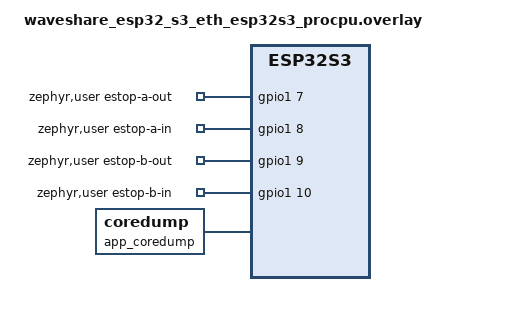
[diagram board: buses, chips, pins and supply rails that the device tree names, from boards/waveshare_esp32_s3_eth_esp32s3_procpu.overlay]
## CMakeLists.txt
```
cmake_minimum_required(VERSION 3.20.0)

find_package(Zephyr REQUIRED HINTS $ENV{ZEPHYR_BASE})

project(protective_stop)

# Shared application code (see applications/common/).
include(${CMAKE_CURRENT_LIST_DIR}/../common/build_id/build_id.cmake)

zephyr_compile_options(-fdiagnostics-color=always)

target_sources(app PRIVATE
  src/main.c
  src/estop_verdict.c
  src/estop_gpio.c
  src/app_settings.c
  src/session.c
  src/lockstep.c
  src/health_logic.c
  src/health.c
  src/ring.c
  src/leds.c
  src/uplink.c
  src/wifi.c
  src/crash.c
  src/log_ring.c
  src/last_log.c
  src/verbose.c
)

if(CONFIG_PROTECTIVE_STOP_HTTP)
  include(${CMAKE_CURRENT_LIST_DIR}/../common/http_util/http_util.cmake)
  target_sources(app PRIVATE
    src/api.c
    src/http_server.c
  )
  # The admin page ships gzipped; the browser inflates it.
  set(gen_dir ${ZEPHYR_BINARY_DIR}/include/generated)
  generate_inc_file_for_target(app src/admin.html ${gen_dir}/admin.html.gz.inc --gzip)
  zephyr_linker_sources(SECTIONS sections-rom.ld)
  zephyr_linker_section(NAME http_resource_desc_pstop_http
    KVMA RAM_REGION GROUP RODATA_REGION
  )
endif()

target_sources_ifdef(CONFIG_PROTECTIVE_STOP_ESPHOME app PRIVATE src/ha.c)

target_include_directories(app PRIVATE src)
```

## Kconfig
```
# SPDX-License-Identifier: Apache-2.0

mainmenu "protective_stop"

config ZVFS_OPEN_ADD_SIZE_PROTECTIVE_STOP
	int
	default 7 if PROTECTIVE_STOP_HTTP
	default 4
	help
	  File descriptors this app holds open: one UDP socket per machine
	  slot (PSTOP_MAX_MACHINES, 4), plus the control plane's listening
	  socket and one per HTTP_SERVER_MAX_CLIENTS (2). Counted here because
	  native_sim's offloaded sockets reserve none of their own.

menu "protective_stop"

config ZVFS_OPEN_ADD_SIZE_PROTECTIVE_STOP
	int
	default 7 if PROTECTIVE_STOP_HTTP
	default 4
	help
	  File descriptors this app holds open: one UDP socket per machine
	  slot (PSTOP_MAX_MACHINES, 4), plus the control plane's listening
	  socket and one per HTTP_SERVER_MAX_CLIENTS (2). Counted here because
	  native_sim's offloaded sockets reserve none of their own.

config PROTECTIVE_STOP_LOCAL_PORT
	int "First local UDP port for machine sessions"
	default 18891 if BOARD_NATIVE_SIM
	default 8891
	help
	  Slot i sends from this port + i. Upstream uses 8891..8894. native_sim
	  shares the host's ports, and upstream's multi-machine test runs its
	  machines on 8890..8893 of that same host, so the simulator moves
	  out of their way.

config PROTECTIVE_STOP_HTTP
	bool "Control plane (HTTP)"
	default y
	select HTTP_SERVER
	select HTTP_SERVER_CAPTURE_HEADERS
	select BASE64
	select REBOOT
	help
	  /state.json and upstream's /api routes, so upstream's tooling can
	  provision and observe this remote.

if PROTECTIVE_STOP_HTTP

config PROTECTIVE_STOP_HTTP_PORT
	int "Control plane TCP port"
	default 8080 if BOARD_NATIVE_SIM
	default 80
	help
	  native_sim binds the host's own port, and 80 needs root there.

config PROTECTIVE_STOP_ADMIN_PASSWORD
	string "Admin password for /admin/* and /api/role"
	default ""
	help
	  The user is "admin". Empty (the default) leaves the admin routes
	  disabled: they answer 403 to every request, so a remote that was
	  never given a password cannot be re-roled or restarted over the
	  network. Set it in a local, uncommitted conf fragment, e.g.
	  --extra-conf admin.conf.

config PROTECTIVE_STOP_VERBOSE
	bool "Runtime verbose logging"
	default y
	select LOG_RUNTIME_FILTERING
	help
	  Compile this app's debug log lines in, filtered out at runtime
	  until POST /admin/api/verbose/toggle lets them through: a line per
	  machine reply, per HTTP request and per WiFi decision.

endif # PROTECTIVE_STOP_HTTP

config PROTECTIVE_STOP_ESPHOME
	bool "Home Assistant (ESPHome native API)"
	default y
	select ESPHOME_API
	select ESPHOME_API_NOISE
	help
	  Show the remote in Home Assistant as an ESPHome device: stop state,
	  bonded machines, lockstep faults and health, read-only. Noise
	  encrypted; POST /admin/api/esphome_key sets the key. Until a key is
	  set every client is refused.

config ZVFS_OPEN_ADD_SIZE_PROTECTIVE_STOP_ESPHOME
	int
	default 3 if PROTECTIVE_STOP_ESPHOME
	default 0
	help
	  The API's listening socket and its two client slots.

menu "Health counters"

config PROTECTIVE_STOP_BUTTON_RATED_OPS
	int "Stop switch rated operations"
	default 100000
	range 0 1000000000
	help
	  Datasheet mechanical life of the stop switch (upstream's NKK FF01:
	  100,000 operations minimum). /api/health reports wear as a
	  percentage of this. 0 disables the wear warning.

config PROTECTIVE_STOP_BUTTON_WARN_PCT
	int "Button wear warning threshold (percent of rated operations)"
	default 80
	range 0 99

config PROTECTIVE_STOP_MISMATCH_WARN_MIN
	int "Loop-mismatch warning: minimum lifetime events"
	default 50
	range 1 1000000

config PROTECTIVE_STOP_MISMATCH_WARN_PER_1000
	int "Loop-mismatch warning: events per 1000 presses"
	default 20
	range 0 1000

config PROTECTIVE_STOP_HEALTH_FLUSH_MIN_S
	int "Minimum seconds between counter flushes"
	default 60
	range 5 3600
	help
	  Bounds flash wear: changed counters wait at least this long.

config PROTECTIVE_STOP_HEALTH_FLUSH_MAX_S
	int "Maximum seconds between counter flushes"
	default 600
	range 30 86400
	help
	  Cumulative uptime is flushed at least this often, so a power pull
	  loses at most this much of it.

endmenu

endmenu

rsource "../common/build_id/Kconfig"

source "Kconfig.zephyr"
```

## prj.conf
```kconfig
CONFIG_LOG=y
CONFIG_LOG_MODE_DEFERRED=y

# pstop_c protocol library, vendored as a Zephyr module (deps/modules/lib/protective-stop)
CONFIG_PSTOP=y

CONFIG_NETWORKING=y
CONFIG_NET_IPV4=y
CONFIG_NET_IPV6=n
CONFIG_NET_UDP=y
CONFIG_NET_SOCKETS=y

# Home Assistant over the ESPHome native API (PROTECTIVE_STOP_ESPHOME). The
# hostname, made unique from the MAC, is the name Home Assistant shows.
CONFIG_NET_HOSTNAME_ENABLE=y
CONFIG_NET_HOSTNAME="pstop"
CONFIG_NET_HOSTNAME_UNIQUE=y
CONFIG_MDNS_RESPONDER=y
CONFIG_DNS_SD=y
CONFIG_NET_IPV4_IGMP=y
CONFIG_ESPHOME_API_FRIENDLY_NAME="Protective stop"

# Control plane: /state.json, /api/*, /admin/api/*
CONFIG_HTTP_SERVER_STACK_SIZE=4096
CONFIG_HTTP_SERVER_MAX_CLIENTS=2
CONFIG_HTTP_SERVER_VERSION_2=n

CONFIG_GPIO=y

CONFIG_MAIN_STACK_SIZE=4096

CONFIG_FLASH=y
CONFIG_FLASH_MAP=y
CONFIG_ZMS=y
CONFIG_SETTINGS=y
CONFIG_SETTINGS_ZMS=y

# POST bodies of /admin/api/wifi and /admin/api/settings
CONFIG_JSON_LIBRARY=y

# Device id from the factory MAC
CONFIG_HWINFO=y
```

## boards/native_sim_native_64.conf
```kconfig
# Host-backed BSD sockets: zsock_* calls go straight to the host's syscalls,
# so this build talks to upstream's real machine_app over ordinary loopback
# with no TAP interface, no net-tools setup and no root.
CONFIG_NET_SOCKETS_OFFLOAD=y
CONFIG_NET_NATIVE_OFFLOADED_SOCKETS=y
CONFIG_NET_DRIVERS=y

# No L2 and no native IP stack -- offloaded sockets bypass both. IPv4 itself
# stays on: the HTTP server picks its listening address family from it.
CONFIG_NET_L2_ETHERNET=n
CONFIG_NET_NATIVE=n

CONFIG_GPIO_EMUL=y

# ZMS needs a flash backend; flash_simulator's native backend persists to a
# host file, so settings survive a restart of the simulation.
CONFIG_FLASH_SIMULATOR=y
CONFIG_FLASH_SIMULATOR_DOUBLE_WRITES=y

# POST /admin/api/restart re-executes the simulator in place.
CONFIG_NATIVE_SIM_REBOOT=y

# Offloaded sockets have no multicast, so no mDNS responder; Home Assistant
# reaches the simulator by 127.0.0.1:6053.
CONFIG_MDNS_RESPONDER=n
CONFIG_NET_IPV4_IGMP=n
```

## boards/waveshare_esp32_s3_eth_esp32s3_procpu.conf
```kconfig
# Uplinks: the onboard W5500 (SPI2) and the ESP32-S3's WiFi station, both on
# DHCP. uplink.c prefers Ethernet; wifi.c leaves WiFi while it holds a lease.
CONFIG_NET_L2_ETHERNET=y
CONFIG_ETH_DRIVER=y
CONFIG_NET_DHCPV4=y
CONFIG_NET_IF_MAX_IPV4_COUNT=2
CONFIG_NET_MGMT=y
CONFIG_NET_MGMT_EVENT=y
CONFIG_WIFI=y
CONFIG_NET_L2_WIFI_MGMT=y

# Two interfaces, the HTTP server and four machine sockets.
CONFIG_NET_PKT_RX_COUNT=16
CONFIG_NET_PKT_TX_COUNT=16
CONFIG_NET_BUF_RX_COUNT=32
CONFIG_NET_BUF_TX_COUNT=32
CONFIG_SYSTEM_WORKQUEUE_STACK_SIZE=2048

# The 16-LED ring and the onboard status pixel (WS2812 over RMT).
CONFIG_LED_STRIP=y

# A fatal error leaves a coredump in the coredump flash partition for
# GET /api/coredump. The partition is 4 KiB, so only the faulting thread's
# registers and stack are kept.
CONFIG_DEBUG_COREDUMP=y
CONFIG_DEBUG_COREDUMP_BACKEND_FLASH_PARTITION=y
CONFIG_DEBUG_COREDUMP_MEMORY_DUMP_MIN=y
```

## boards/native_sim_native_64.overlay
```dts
/*
 * Copyright (c) 2026 Richard Osterloh <richard.osterloh@gmail.com>
 * SPDX-License-Identifier: Apache-2.0
 *
 * Dual-channel stop-switch loopback, modelled on gpio_emul.
 *
 * On hardware each channel runs out of a drive pin, through one pole of the
 * external DPST normally-closed switch, and back into a sense pin pulled DOWN
 * (so an open loop or a cut wire reads 0 = STOP). native_sim has no wire, so
 * estop_gpio.c mirrors OUT onto IN through a simulated pole; see
 * estop_sim_set_pole().
 *
 * Pin numbers mirror the hardware build (39/40, 41/42) purely so the two
 * overlays read alike; on gpio_emul any pin below ngpios would do.
 */

/ {
	zephyr,user {
		estop-a-out-gpios = <&gpio0 0 GPIO_ACTIVE_HIGH>;
		estop-a-in-gpios  = <&gpio0 1 GPIO_ACTIVE_HIGH>;
		estop-b-out-gpios = <&gpio0 2 GPIO_ACTIVE_HIGH>;
		estop-b-in-gpios  = <&gpio0 3 GPIO_ACTIVE_HIGH>;
	};
};
```

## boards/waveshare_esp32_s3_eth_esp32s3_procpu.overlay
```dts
/*
 * Copyright (c) 2026 Richard Osterloh <richard.osterloh@gmail.com>
 * SPDX-License-Identifier: Apache-2.0
 *
 * Dual-channel stop-switch loopback, as wired in the pstop enclosure.
 *
 * Each channel runs out of a drive pin, through one pole of the external DPST
 * normally-closed switch, and back into a sense pin pulled DOWN -- so an open
 * loop, a cut wire or a pulled plug all read 0 = STOP. The two channels are
 * independent so that a single-pole fault makes the two lockstep samplers
 * disagree, which silences transmission and stops every bonded machine.
 *
 *     channel A:  GPIO39 (drive) --> DPST pole 1 --> GPIO40 (sense)
 *     channel B:  GPIO41 (drive) --> DPST pole 2 --> GPIO42 (sense)
 *
 * These are enclosure wiring, not board hardware, which is why they live in
 * an app overlay rather than in the board definition. Pin numbering matches
 * upstream's ESP-IDF firmware (firmware/main/main.c) so the same harness fits
 * either build.
 *
 * GPIO39-42 sit on gpio1, which covers pins 32-48 on the ESP32-S3, hence the
 * offsets 7-10 below.
 *
 * The 16-LED WS2812 status ring is enclosure wiring too: its data line is
 * GPIO17, driven from RMT transmit channel 1 (channel 0 drives the onboard
 * status pixel on GPIO21, which being soldered to the board lives in the
 * board definition as led-strip). leds.c finds the ring as pstop-ring.
 */

#include <zephyr/dt-bindings/gpio/gpio.h>
#include <zephyr/dt-bindings/led/led.h>
#include <zephyr/dt-bindings/pinctrl/esp32s3-pinctrl.h>

/ {
	zephyr,user {
		estop-a-out-gpios = <&gpio1 7 GPIO_ACTIVE_HIGH>;  /* GPIO39 */
		estop-a-in-gpios = <&gpio1 8 GPIO_ACTIVE_HIGH>;  /* GPIO40 */
		estop-b-out-gpios = <&gpio1 9 GPIO_ACTIVE_HIGH>;  /* GPIO41 */
		estop-b-in-gpios = <&gpio1 10 GPIO_ACTIVE_HIGH>; /* GPIO42 */
	};

	aliases {
		pstop-ring = &pstop_ring;
	};

	pstop_ring: pstop_ring {
		compatible = "worldsemi,ws2812-pulse-io";
		pulse-ios = <&rmt 1>;
		chain-length = <16>;
		color-mapping = <LED_COLOR_ID_GREEN
				 LED_COLOR_ID_RED
				 LED_COLOR_ID_BLUE>;
		reset-delay = <300>;
	};
};

/* Both RMT transmit pins in one state: the controller applies one pinctrl
 * state for all its channels.
 */
&rmt_ws2812 {
	group1 {
		pinmux = <RMT_OUT0_GPIO21>, <RMT_OUT1_GPIO17>;
	};
};

/* Coredump pseudo-device: applications/common/build_id registers the build-ID
 * note with it at boot, so every dump names its ELF.
 */
/ {
	app_coredump: app-coredump {
		compatible = "zephyr,coredump";
		coredump-type = "COREDUMP_TYPE_MEMCPY";
	};
};
```

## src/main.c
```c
/*
 * Copyright (c) 2026 Richard Osterloh <richard.osterloh@gmail.com>
 * SPDX-License-Identifier: Apache-2.0
 *
 * protective_stop: a Zephyr pstop REMOTE.
 *
 * Init order matters. Settings first (the peer table decides which sessions
 * exist), then the health counters (they hook the comparator before it
 * starts), the stop-switch GPIOs (so the first sampler tick reads real pins),
 * then the sessions, and only then the threads. The uplinks, LEDs and
 * control plane come last: the remote stops machines without any of them.
 */

#include <zephyr/kernel.h>
#include <zephyr/logging/log.h>

#include "app_settings.h"
#include "estop_gpio.h"
#include "health.h"
#include "http_server.h"
#include "leds.h"
#include "lockstep.h"
#include "pstop/config.h"
#include "pstop_log.h"
#include "uplink.h"
#include "verbose.h"
#include "wifi.h"

LOG_MODULE_REGISTER(pstop, PSTOP_LOG_LEVEL);

/* Fallback peer, applied only when nothing has been provisioned yet. Matches
 * upstream's machine_app defaults so a fresh native_sim build talks to it
 * without any configuration. POST /api/pstop_peers overrides it.
 */
#define DEFAULT_MACHINE_IP   0x7F000001U /* 127.0.0.1 */
#define DEFAULT_MACHINE_PORT 8890U
#define DEFAULT_MACHINE_ID   0x01020304U

/* Lockstep health counters are otherwise silent between /state.json polls.
 * Logging on change here is enough to see a stuck-gate or a mismatch spike
 * without polling. The same period paces the wear counters' flushes.
 */
#define COUNTER_LOG_PERIOD_MS 5000U

int main(void)
{
	int ret;

	pstop_verbose_init();

	LOG_INF("protective_stop remote: pstop v%u, %u-byte frames", (unsigned int)PSTOP_VERSION,
		(unsigned int)PSTOP_MESSAGE_SIZE);

	ret = app_settings_init();
	if (ret != 0) {
		LOG_ERR("settings init failed: %d", ret);
		return ret;
	}

	struct pstop_peer peer0;

	(void)app_settings_peer_get(0, &peer0);
	if (!peer0.configured) {
		LOG_WRN("no peer provisioned; using the built-in default");
		(void)app_settings_set_peer(0, DEFAULT_MACHINE_IP, DEFAULT_MACHINE_PORT,
					    DEFAULT_MACHINE_ID);
	}

	LOG_INF("device id %08x (%s)", app_settings_effective_device_id(),
		(app_settings_device_id() != 0U) ? "pinned" : "from the MAC");

	/* Wear counting is not a safety function: a failed load starts from
	 * zero and the remote runs on.
	 */
	(void)health_init();

	ret = estop_gpio_init();
	if (ret != 0) {
		LOG_ERR("stop-switch gpio init failed: %d", ret);
		return ret;
	}

	ret = pstop_lockstep_init();
	if (ret != 0) {
		LOG_ERR("lockstep init failed: %d", ret);
		return ret;
	}

	ret = pstop_lockstep_start();
	if (ret != 0) {
		return ret;
	}

	/* None of these gate the stop path: a remote with no uplink or no
	 * LEDs still drives its sessions, which simply never bond.
	 */
	if (uplink_init() != 0) {
		LOG_WRN("no network interfaces");
	}
	if (pstop_wifi_start() == 0) {
		LOG_INF("wifi station started");
	}
	if (leds_start() != 0) {
		LOG_WRN("LEDs unavailable");
	}

	if (IS_ENABLED(CONFIG_PROTECTIVE_STOP_HTTP)) {
		/* A control plane that fails to start leaves the remote stopping
		 * machines as before, just unprovisionable: keep running.
		 */
		(void)pstop_http_start();
	}

	uint32_t last_mismatches = 0;
	uint32_t last_gated_ticks = 0;
	uint32_t last_missed_deadlines = 0;

	while (true) {
		k_sleep(K_MSEC(COUNTER_LOG_PERIOD_MS));
		health_poll();

		uint32_t mismatches = pstop_lockstep_mismatches();
		uint32_t gated_ticks = pstop_lockstep_gated_ticks();
		uint32_t missed_deadlines = pstop_lockstep_missed_deadlines();

		if ((mismatches != last_mismatches) || (gated_ticks != last_gated_ticks) ||
		    (missed_deadlines != last_missed_deadlines)) {
			struct pstop_lockstep_diag diag;

			pstop_lockstep_diag_get(&diag);
			LOG_INF("lockstep health: mismatches=%u gated_ticks=%u missed_deadlines=%u "
				"last_late=%#x worst_latency=%u/%u ms",
				mismatches, gated_ticks, missed_deadlines, diag.late_mask,
				diag.latency_max_ms[0], diag.latency_max_ms[1]);
			last_mismatches = mismatches;
			last_gated_ticks = gated_ticks;
			last_missed_deadlines = missed_deadlines;
		}
	}
}
```

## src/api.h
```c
/*
 * Copyright (c) 2026 Richard Osterloh <richard.osterloh@gmail.com>
 * SPDX-License-Identifier: Apache-2.0
 *
 * The control plane's request handling, route by route, kept apart from the
 * HTTP server so ztest can drive every route without a socket. Each handler
 * takes the request URL (path plus query) and, where the route needs it, the
 * Authorization header; writes a JSON body into buf; and returns the HTTP
 * status. Routes, query parameters and response bodies follow upstream's
 * docs/guides/http_api.md, so upstream's tooling drives this remote
 * unmodified. Fields this remote has no source for are left out of
 * /state.json rather than reported as zero.
 */

#ifndef PROTECTIVE_STOP_API_H
#define PROTECTIVE_STOP_API_H

#include <stdbool.h>
#include <stddef.h>

/* The admin user, as upstream's Basic auth expects it. The password is
 * CONFIG_PROTECTIVE_STOP_ADMIN_PASSWORD.
 */
#define PSTOP_API_ADMIN_USER "admin"

/* Big enough for /state.json with all four slots configured. */
#define PSTOP_API_BODY_MAX 2048

struct pstop_api_response {
	int status;          /* HTTP status code */
	size_t len;          /* bytes written to the body buffer */
	bool auth_challenge; /* a 401: send WWW-Authenticate */
	bool restart;        /* reboot once this response is on the wire */
};

/* GET /state.json -- telemetry snapshot. */
void pstop_api_state(char *buf, size_t cap, struct pstop_api_response *rsp);

/* POST /api/pstop_peer?ip=A.B.C.D&port=N | ?clear=1 -- legacy slot 0. */
void pstop_api_pstop_peer(const char *url, char *buf, size_t cap, struct pstop_api_response *rsp);

/* POST /api/pstop_peers?slot=N&ip=A.B.C.D&port=P[&id=HEX] | &clear=1 |
 * &rebond=1 -- the multi-machine peer table. Changes apply within one tick.
 */
void pstop_api_pstop_peers(const char *url, char *buf, size_t cap, struct pstop_api_response *rsp);

/* GET /api/role, POST /api/role?role=stop_only|operator -- admin. */
void pstop_api_role(bool post, const char *url, const char *auth, char *buf, size_t cap,
		    struct pstop_api_response *rsp);

/* GET /admin/api/status -- admin. */
void pstop_api_admin_status(const char *auth, char *buf, size_t cap,
			    struct pstop_api_response *rsp);

/* POST /admin/api/restart -- admin. Sets rsp->restart; the caller reboots. */
void pstop_api_admin_restart(const char *auth, char *buf, size_t cap,
			     struct pstop_api_response *rsp);

/* POST /api/ring_offset?n=N -- which physical pixel is LED 1 (0..15). */
void pstop_api_ring_offset(const char *url, char *buf, size_t cap, struct pstop_api_response *rsp);

/* POST /api/ring_led1?on=0|1 -- locate mode, auto-expiring after 5 min. */
void pstop_api_ring_led1(const char *url, char *buf, size_t cap, struct pstop_api_response *rsp);

/* GET /api/health -- lifetime wear counters and the warning board. */
void pstop_api_health(char *buf, size_t cap, struct pstop_api_response *rsp);

/* POST /api/health/reset?what=button|all&confirm=1 -- admin. */
void pstop_api_health_reset(const char *url, const char *auth, char *buf, size_t cap,
			    struct pstop_api_response *rsp);

/* GET /api/coredump -- admin. On 200, *size is the dump's length and the
 * caller streams it with crash_read(); otherwise buf holds the error body.
 */
void pstop_api_coredump(const char *auth, char *buf, size_t cap, struct pstop_api_response *rsp,
			size_t *size);

/* GET /admin/ -- admin. Only the gate: on 200 the caller serves the page. */
void pstop_api_admin_page(const char *auth, char *buf, size_t cap, struct pstop_api_response *rsp);

/* GET|POST /admin/api/settings -- admin. POST takes a JSON body with any of
 * "ring_offset" (0..15) and "device_id" (0 = derive from the MAC). body is
 * parsed in place.
 */
void pstop_api_admin_settings(bool post, char *body, size_t body_len, const char *auth, char *buf,
			      size_t cap, struct pstop_api_response *rsp);

/* GET|POST /admin/api/wifi -- admin. GET lists the stored networks with
 * passwords masked; POST replaces the list from {"networks":[{"ssid","pass"}]}
 * where a pass of "********" keeps that network's stored password. body is
 * parsed in place.
 */
void pstop_api_admin_wifi(bool post, char *body, size_t body_len, const char *auth, char *buf,
			  size_t cap, struct pstop_api_response *rsp);

/* GET /admin/api/verbose, POST /admin/api/verbose/toggle -- admin. */
void pstop_api_admin_verbose(bool toggle, const char *auth, char *buf, size_t cap,
			     struct pstop_api_response *rsp);

/* POST /admin/api/esphome_key -- admin. Sets the Home Assistant (ESPHome API)
 * encryption key from {"key":"<base64 of 32 bytes>"}, as Home Assistant asks
 * for it, and saves it. The key is never read back. body is parsed in place.
 */
void pstop_api_admin_esphome_key(char *body, size_t body_len, const char *auth, char *buf,
				 size_t cap, struct pstop_api_response *rsp);

#endif /* PROTECTIVE_STOP_API_H */
```

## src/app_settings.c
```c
/*
 * Copyright (c) 2026 Richard Osterloh <richard.osterloh@gmail.com>
 * SPDX-License-Identifier: Apache-2.0
 */

#include <stdio.h>  /* snprintf */
#include <stdlib.h> /* atoi */
#include <string.h>

#include <zephyr/drivers/hwinfo.h>
#include <zephyr/kernel.h>
#include <zephyr/logging/log.h>
#include <zephyr/settings/settings.h>

#include "app_settings.h"
#include "pstop_log.h"

LOG_MODULE_REGISTER(app_settings, PSTOP_LOG_LEVEL);

#define PSTOP_SETTINGS_ROOT "pstop"

/* Upstream's family byte for remote ids derived from the MAC. */
#define DERIVED_ID_PREFIX 0x01000000U
#define FALLBACK_ID       0xC0A80105U /* 192.168.1.5, slice 1-3's fixed id */

/* Guards peers[]: the HTTP thread writes slots while the comparator reads
 * them. device_id and is_operator are single words, read whole.
 */
static K_MUTEX_DEFINE(peers_lock);
static struct pstop_peer peers[PSTOP_MAX_MACHINES];
static uint32_t device_id;
static uint32_t derived_id;
static bool is_operator;
static uint8_t ring_offset;

static K_MUTEX_DEFINE(wifi_lock);
static struct pstop_wifi_net wifi[PSTOP_WIFI_MAX];

static int pstop_settings_set(const char *name, size_t len, settings_read_cb read_cb, void *cb_arg)
{
	const char *next;

	if (settings_name_steq(name, "device_id", &next) && !next) {
		if (len != sizeof(device_id)) {
			return -EINVAL;
		}
		return (read_cb(cb_arg, &device_id, sizeof(device_id)) < 0) ? -EIO : 0;
	}

	if (settings_name_steq(name, "operator", &next) && !next) {
		if (len != sizeof(is_operator)) {
			return -EINVAL;
		}
		return (read_cb(cb_arg, &is_operator, sizeof(is_operator)) < 0) ? -EIO : 0;
	}

	if (settings_name_steq(name, "ring_off", &next) && !next) {
		if (len != sizeof(ring_offset)) {
			return -EINVAL;
		}
		return (read_cb(cb_arg, &ring_offset, sizeof(ring_offset)) < 0) ? -EIO : 0;
	}

	if (settings_name_steq(name, "wifi", &next) && next) {
		int idx = atoi(next);

		if ((idx < 0) || (idx >= PSTOP_WIFI_MAX) || (len != sizeof(wifi[idx]))) {
			return -EINVAL;
		}
		if (read_cb(cb_arg, &wifi[idx], sizeof(wifi[idx])) < 0) {
			return -EIO;
		}
		wifi[idx].ssid[PSTOP_WIFI_SSID_MAX] = '\0';
		wifi[idx].pass[PSTOP_WIFI_PASS_MAX] = '\0';
		return 0;
	}

	if (settings_name_steq(name, "peers", &next) && next) {
		/* next is "<slot>" */
		int slot = atoi(next);

		if ((slot < 0) || (slot >= PSTOP_MAX_MACHINES)) {
			return -EINVAL;
		}
		if (len != sizeof(peers[slot])) {
			return -EINVAL;
		}
		return (read_cb(cb_arg, &peers[slot], sizeof(peers[slot])) < 0) ? -EIO : 0;
	}

	return -ENOENT;
}

SETTINGS_STATIC_HANDLER_DEFINE(pstop, PSTOP_SETTINGS_ROOT, NULL, pstop_settings_set, NULL, NULL);

static uint32_t derive_device_id(void)
{
#ifdef CONFIG_HWINFO
	uint8_t mac[6];
	ssize_t n = hwinfo_get_device_id(mac, sizeof(mac));

	if (n >= 3) {
		return DERIVED_ID_PREFIX | ((uint32_t)mac[n - 3] << 16) |
		       ((uint32_t)mac[n - 2] << 8) | (uint32_t)mac[n - 1];
	}
#endif
	return FALLBACK_ID;
}

int app_settings_init(void)
{
	int ret;

	(void)memset(peers, 0, sizeof(peers));
	(void)memset(wifi, 0, sizeof(wifi));
	device_id = 0U;
	is_operator = false;
	ring_offset = 0U;
	derived_id = derive_device_id();

	ret = settings_subsys_init();
	if (ret != 0) {
		LOG_ERR("settings_subsys_init: %d", ret);
		return ret;
	}

	ret = settings_load_subtree(PSTOP_SETTINGS_ROOT);
	if (ret != 0) {
		LOG_ERR("settings_load_subtree: %d", ret);
		return ret;
	}

	if (ring_offset >= 16U) {
		ring_offset = 0U;
	}

	LOG_INF("settings loaded: device_id=%08x (%s) role=%s", app_settings_effective_device_id(),
		(device_id != 0U) ? "pinned" : "derived", is_operator ? "operator" : "stop_only");
	return 0;
}

int app_settings_peer_get(int slot, struct pstop_peer *out)
{
	if ((slot < 0) || (slot >= PSTOP_MAX_MACHINES) || (out == NULL)) {
		return -EINVAL;
	}

	(void)k_mutex_lock(&peers_lock, K_FOREVER);
	*out = peers[slot];
	(void)k_mutex_unlock(&peers_lock);
	return 0;
}

static int save_peer(int slot, const struct pstop_peer *peer)
{
	char key[32];

	(void)snprintf(key, sizeof(key), PSTOP_SETTINGS_ROOT "/peers/%d", slot);
	return settings_save_one(key, peer, sizeof(*peer));
}

int app_settings_set_peer(int slot, uint32_t ip, uint16_t port, uint32_t id)
{
	struct pstop_peer peer;
	int ret;

	if ((slot < 0) || (slot >= PSTOP_MAX_MACHINES)) {
		return -EINVAL;
	}

	(void)memset(&peer, 0, sizeof(peer));
	peer.ip = ip;
	peer.port = port;
	peer.id = id;
	peer.configured = true;

	(void)k_mutex_lock(&peers_lock, K_FOREVER);
	ret = save_peer(slot, &peer);
	if (ret == 0) {
		peers[slot] = peer;
	}
	(void)k_mutex_unlock(&peers_lock);
	return ret;
}

int app_settings_clear_peer(int slot)
{
	struct pstop_peer peer;
	int ret;

	if ((slot < 0) || (slot >= PSTOP_MAX_MACHINES)) {
		return -EINVAL;
	}

	(void)memset(&peer, 0, sizeof(peer));

	(void)k_mutex_lock(&peers_lock, K_FOREVER);
	ret = save_peer(slot, &peer);
	if (ret == 0) {
		peers[slot] = peer;
	}
	(void)k_mutex_unlock(&peers_lock);
	return ret;
}

uint32_t app_settings_device_id(void)
{
	return device_id;
}

int app_settings_set_device_id(uint32_t id)
{
	int ret;

	ret = settings_save_one(PSTOP_SETTINGS_ROOT "/device_id", &id, sizeof(id));
	if (ret != 0) {
		return ret;
	}

	device_id = id;
	return 0;
}

uint32_t app_settings_effective_device_id(void)
{
	uint32_t id = device_id;

	return (id != 0U) ? id : derived_id;
}

uint8_t app_settings_ring_offset(void)
{
	return ring_offset;
}

int app_settings_set_ring_offset(uint8_t offset)
{
	int ret;

	if (offset >= 16U) {
		return -EINVAL;
	}

	ret = settings_save_one(PSTOP_SETTINGS_ROOT "/ring_off", &offset, sizeof(offset));
	if (ret != 0) {
		return ret;
	}

	ring_offset = offset;
	return 0;
}

int app_settings_wifi_get(int idx, struct pstop_wifi_net *out)
{
	if ((idx < 0) || (idx >= PSTOP_WIFI_MAX) || (out == NULL)) {
		return -EINVAL;
	}

	(void)k_mutex_lock(&wifi_lock, K_FOREVER);
	*out = wifi[idx];
	(void)k_mutex_unlock(&wifi_lock);
	return 0;
}

int app_settings_wifi_set_all(const struct pstop_wifi_net nets[PSTOP_WIFI_MAX])
{
	char key[32];
	int ret = 0;

	(void)k_mutex_lock(&wifi_lock, K_FOREVER);
	for (int i = 0; i < PSTOP_WIFI_MAX; i++) {
		(void)snprintf(key, sizeof(key), PSTOP_SETTINGS_ROOT "/wifi/%d", i);
		ret = settings_save_one(key, &nets[i], sizeof(nets[i]));
		if (ret != 0) {
			break;
		}
		wifi[i] = nets[i];
	}
	(void)k_mutex_unlock(&wifi_lock);
	return ret;
}

bool app_settings_is_operator(void)
{
	return is_operator;
}

int app_settings_set_operator(bool op)
{
	int ret;

	ret = settings_save_one(PSTOP_SETTINGS_ROOT "/operator", &op, sizeof(op));
	if (ret != 0) {
		return ret;
	}

	is_operator = op;
	return 0;
}
```

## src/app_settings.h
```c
/*
 * Copyright (c) 2026 Richard Osterloh <richard.osterloh@gmail.com>
 * SPDX-License-Identifier: Apache-2.0
 *
 * Persistent configuration: the machine peer table, this remote's role, its
 * device id, the LED-ring orientation and the WiFi networks.
 *
 * Settings-over-ZMS rather than raw ZMS: raw ZMS is a flat uint32 id -> bytes
 * store, so using it directly would mean inventing an id map and keeping it
 * stable across firmware versions forever. Settings gives string keys and
 * allocates ids itself. Upstream's NVS blobs are string-keyed too, so the
 * persistence model stays recognisable.
 */

#ifndef PROTECTIVE_STOP_APP_SETTINGS_H
#define PROTECTIVE_STOP_APP_SETTINGS_H

#include <stdbool.h>
#include <stdint.h>

/* One remote heartbeats up to this many machines independently. */
#define PSTOP_MAX_MACHINES 4

struct pstop_peer {
	uint32_t ip;   /* IPv4, host byte order */
	uint16_t port; /* machine's UDP port */
	uint32_t id;   /* the machine's pstop device id */
	bool configured;
};

/* Initialise the settings subsystem and load everything under "pstop/".
 * Returns 0 or -errno.
 */
int app_settings_init(void);

/* Copy a peer slot out. Returns 0, or -EINVAL for a slot out of range. Safe
 * from any thread: the HTTP API rewrites slots while the comparator reads
 * them, so callers get a consistent copy, never a pointer into the table.
 */
int app_settings_peer_get(int slot, struct pstop_peer *out);

/* Set and persist a peer slot. Returns 0 or -errno (-EINVAL for a bad slot). */
int app_settings_set_peer(int slot, uint32_t ip, uint16_t port, uint32_t id);

/* Empty and persist a peer slot. */
int app_settings_clear_peer(int slot);

/* This remote's pstop device id. Zero means "derive from the active uplink";
 * a non-zero stored value pins it. Pinning matters because the machine's
 * operator allowlist is keyed on this value, so an id that moves with DHCP
 * silently demotes the remote to stop-only.
 */
uint32_t app_settings_device_id(void);
int app_settings_set_device_id(uint32_t id);

/* The id this remote announces: the stored one if pinned, otherwise derived
 * from the chip's factory MAC like upstream's (0x01 then the MAC's low 24
 * bits), so it is stable across DHCP leases, reflashes and uplinks. Without a
 * hardware id source it falls back to 0xC0A80105.
 */
uint32_t app_settings_effective_device_id(void);

/* LED-ring rotation: which physical pixel is logical LED 1, 0..15. */
uint8_t app_settings_ring_offset(void);
int app_settings_set_ring_offset(uint8_t offset);

/* Stored WiFi networks, tried in order. An empty ssid is an empty entry. */
#define PSTOP_WIFI_MAX      4
#define PSTOP_WIFI_SSID_MAX 32
#define PSTOP_WIFI_PASS_MAX 64

struct pstop_wifi_net {
	char ssid[PSTOP_WIFI_SSID_MAX + 1];
	char pass[PSTOP_WIFI_PASS_MAX + 1];
};

int app_settings_wifi_get(int idx, struct pstop_wifi_net *out);

/* Replace the whole list. Returns 0 or -errno. */
int app_settings_wifi_set_all(const struct pstop_wifi_net nets[PSTOP_WIFI_MAX]);

/* Self-claimed role, announced in every pstop frame and re-read by the
 * machine on every frame, so a change applies live. Defaults to stop-only.
 * Since upstream #130 the machine has no operator list: this claim alone
 * decides whether the remote may re-arm. Admission (may it bond at all) is
 * the machine's allow/denylist.
 */
bool app_settings_is_operator(void);
int app_settings_set_operator(bool op);

#endif /* PROTECTIVE_STOP_APP_SETTINGS_H */
```

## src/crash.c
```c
/*
 * Copyright (c) 2026 Richard Osterloh <richard.osterloh@gmail.com>
 * SPDX-License-Identifier: Apache-2.0
 */

#include <errno.h>

#include <zephyr/kernel.h>
#include <zephyr/debug/coredump.h>

#include "crash.h"

#ifdef CONFIG_DEBUG_COREDUMP_BACKEND_FLASH_PARTITION

size_t crash_size(void)
{
	int size;

	if (coredump_query(COREDUMP_QUERY_HAS_STORED_DUMP, NULL) != 1) {
		return 0U;
	}
	size = coredump_query(COREDUMP_QUERY_GET_STORED_DUMP_SIZE, NULL);
	return (size > 0) ? (size_t)size : 0U;
}

int crash_read(size_t offset, uint8_t *buf, size_t len)
{
	struct coredump_cmd_copy_arg arg = {
		.offset = (off_t)offset,
		.buffer = buf,
		.length = len,
	};

	return coredump_cmd(COREDUMP_CMD_COPY_STORED_DUMP, &arg);
}

#else

size_t crash_size(void)
{
	return 0U;
}

int crash_read(size_t offset, uint8_t *buf, size_t len)
{
	ARG_UNUSED(offset);
	ARG_UNUSED(buf);
	ARG_UNUSED(len);
	return -ENOTSUP;
}

#endif
```

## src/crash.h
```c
/*
 * Copyright (c) 2026 Richard Osterloh <richard.osterloh@gmail.com>
 * SPDX-License-Identifier: Apache-2.0
 *
 * The coredump a fatal error leaves in the flash coredump partition, for
 * /api/coredump and /state.json's crash_present. It persists until the next
 * crash overwrites it. Builds without a flash coredump backend (native_sim)
 * never have one.
 */

#ifndef PROTECTIVE_STOP_CRASH_H
#define PROTECTIVE_STOP_CRASH_H

#include <stdbool.h>
#include <stddef.h>
#include <stdint.h>

/* Size of the stored dump in bytes, 0 if there is none. */
size_t crash_size(void);

/* Copy up to len bytes of the stored dump from offset. Returns the count
 * copied or -errno.
 */
int crash_read(size_t offset, uint8_t *buf, size_t len);

#endif /* PROTECTIVE_STOP_CRASH_H */
```

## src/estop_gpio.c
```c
/*
 * Copyright (c) 2026 Richard Osterloh <richard.osterloh@gmail.com>
 * SPDX-License-Identifier: Apache-2.0
 */

#include <zephyr/drivers/gpio.h>
#include <zephyr/kernel.h>
#include <zephyr/logging/log.h>

#ifdef CONFIG_GPIO_EMUL
#include <zephyr/drivers/gpio/gpio_emul.h>
#endif

#include "estop_gpio.h"
#include "pstop_log.h"

LOG_MODULE_REGISTER(estop_gpio, PSTOP_LOG_LEVEL);

#define ZUSER DT_PATH(zephyr_user)

/* Propagation through the wire and the switch contacts. */
#define ESTOP_SETTLE_US 10

static const struct gpio_dt_spec estop_out[ESTOP_CHANNELS] = {
	GPIO_DT_SPEC_GET(ZUSER, estop_a_out_gpios),
	GPIO_DT_SPEC_GET(ZUSER, estop_b_out_gpios),
};

static const struct gpio_dt_spec estop_in[ESTOP_CHANNELS] = {
	GPIO_DT_SPEC_GET(ZUSER, estop_a_in_gpios),
	GPIO_DT_SPEC_GET(ZUSER, estop_b_in_gpios),
};

#ifdef CONFIG_GPIO_EMUL
static bool sim_pole_closed[ESTOP_CHANNELS];

void estop_sim_set_pole(int ch, bool closed)
{
	if ((ch >= 0) && (ch < ESTOP_CHANNELS)) {
		sim_pole_closed[ch] = closed;
	}
}

/* Model the wire: a closed pole conducts the driven level to the sense pin, an
 * open pole leaves it at the pull-down's 0.
 */
static void sim_propagate(int ch, int driven)
{
	(void)gpio_emul_input_set_dt(&estop_in[ch], sim_pole_closed[ch] ? driven : 0);
}
#else
#define sim_propagate(ch, driven) ((void)0)
#endif

int estop_gpio_init(void)
{
	for (int c = 0; c < ESTOP_CHANNELS; c++) {
		int ret;

		if (!gpio_is_ready_dt(&estop_out[c]) || !gpio_is_ready_dt(&estop_in[c])) {
			LOG_ERR("channel %d gpio not ready", c);
			return -ENODEV;
		}

		ret = gpio_pin_configure_dt(&estop_out[c], GPIO_OUTPUT_INACTIVE);
		if (ret != 0) {
			LOG_ERR("channel %d out configure: %d", c, ret);
			return ret;
		}

		/* Pull DOWN: an open loop or a cut wire reads 0 = STOP. */
		ret = gpio_pin_configure_dt(&estop_in[c], GPIO_INPUT | GPIO_PULL_DOWN);
		if (ret != 0) {
			LOG_ERR("channel %d in configure: %d", c, ret);
			return ret;
		}
	}

	LOG_INF("stop-switch loopback ready: %d channels", ESTOP_CHANNELS);
	return 0;
}

uint8_t estop_channel_sample(int core_id, estop_state_t *st)
{
	int rb_hi;
	int rb_lo;

	/* Sample BOTH loop phases THIS tick. A healthy closed loop conducts as
	 * driven, so rb_hi==1 AND rb_lo==0. Driving only one phase would let a
	 * stuck-high sense pin masquerade as a closed loop.
	 */
	(void)gpio_pin_set_dt(&estop_out[core_id], 1);
	sim_propagate(core_id, 1);
	k_busy_wait(ESTOP_SETTLE_US);
	rb_hi = gpio_pin_get_dt(&estop_in[core_id]);

	(void)gpio_pin_set_dt(&estop_out[core_id], 0);
	sim_propagate(core_id, 0);
	k_busy_wait(ESTOP_SETTLE_US);
	rb_lo = gpio_pin_get_dt(&estop_in[core_id]);

	/* A read error must never read as a healthy level. */
	if (rb_hi < 0) {
		rb_hi = 0;
	}
	if (rb_lo < 0) {
		rb_lo = 1;
	}

	return estop_decide(st, core_id, rb_hi, rb_lo);
}
```

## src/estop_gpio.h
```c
/*
 * Copyright (c) 2026 Richard Osterloh <richard.osterloh@gmail.com>
 * SPDX-License-Identifier: Apache-2.0
 *
 * Thin HAL glue for the dual-channel stop-switch loopback. All decision logic
 * lives in estop_verdict.c; this file only drives pins and reads them back.
 */

#ifndef PROTECTIVE_STOP_ESTOP_GPIO_H
#define PROTECTIVE_STOP_ESTOP_GPIO_H

#include <stdbool.h>
#include <stdint.h>

#include "estop_verdict.h"

#define ESTOP_CHANNELS 2

/* Configure both channels' pins. Drive pins as outputs held low, sense pins as
 * inputs pulled DOWN so an open loop reads 0 = STOP. Returns 0 or -errno.
 */
int estop_gpio_init(void);

/* Drive channel `core_id`'s loop high, read the echo, drive it low, read
 * again, then hand both reads to estop_decide(). Called exactly ONCE per tick
 * per channel; the returned verdict is reused for every machine slot so all
 * sessions carry the same tick verdict.
 */
uint8_t estop_channel_sample(int core_id, estop_state_t *st);

#ifdef CONFIG_GPIO_EMUL
/* Model one pole of the DPST switch: closed conducts the driven level to the
 * sense pin, open leaves it pulled down. native_sim has no wire, so the
 * loopback has to be modelled explicitly -- there is nothing to test
 * otherwise. Not compiled on hardware.
 */
void estop_sim_set_pole(int ch, bool closed);
#endif

#endif /* PROTECTIVE_STOP_ESTOP_GPIO_H */
```

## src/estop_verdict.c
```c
/*
 * Copyright (c) 2026 Richard Osterloh <richard.osterloh@gmail.com>
 * SPDX-License-Identifier: Apache-2.0
 */

#include <string.h>

#include "estop_verdict.h"
#include "pstop/pstop_msg.h" /* PSTOP_MESSAGE_OK / PSTOP_MESSAGE_STOP */

void estop_state_init(estop_state_t *st)
{
	(void)memset(st, 0, sizeof(*st));
}

uint8_t estop_decide(estop_state_t *st, int core_id, int rb_hi, int rb_lo)
{
	/* The OK codeword is selected by the ARITHMETIC IMAGE of both fresh
	 * reads -- index 0 (OK) iff rb_hi==1 AND rb_lo==0, computed with no
	 * interpretable boolean. So OK cannot be produced by a stale/latched
	 * flag or by a fault in the health/debounce logic below: every check
	 * there is a STOP-ONLY override that may raise msg to STOP but can
	 * never lower it to OK.
	 */
	static const uint8_t k_estop_msg[2] = {PSTOP_MESSAGE_OK, PSTOP_MESSAGE_STOP};
	uint8_t msg;

	if (core_id == 0) {
		msg = k_estop_msg[(unsigned int)((rb_hi ^ 1) | rb_lo) & 1U];
	} else {
		msg = ((rb_hi == 1) && (rb_lo == 0)) ? PSTOP_MESSAGE_OK : PSTOP_MESSAGE_STOP;
	}

	st->high_ok = (rb_hi == 1);
	st->low_ok = (rb_lo == 0);
	st->primed_high = true;
	st->primed_low = true;

	const bool raw_closed = st->high_ok && st->low_ok;

	/* Asymmetric release debounce: open reports IMMEDIATELY, closed only
	 * after LOOP_RECLOSE_DEBOUNCE_TICKS consecutive healthy ticks.
	 */
	if (raw_closed) {
		if (st->closed_streak < (uint8_t)255U) {
			st->closed_streak++;
		}
		st->open_streak = 0U;
		if (st->closed_streak >= LOOP_RECLOSE_DEBOUNCE_TICKS) {
			st->settled = true;
		}
	} else {
		st->closed_streak = 0U;
		if (st->open_streak < (uint8_t)255U) {
			st->open_streak++;
		}
		if (st->open_streak >= LOOP_BOOT_OPEN_CONFIRM_TICKS) {
			st->settled = true; /* held open: STOP flows */
		}
	}

	/* STOP-ONLY override. msg is already STOP whenever this tick's live
	 * sample did not match the driven level, so a fault here cannot
	 * manufacture an OK.
	 */
	if (!(raw_closed && (st->closed_streak >= LOOP_RECLOSE_DEBOUNCE_TICKS))) {
		msg = PSTOP_MESSAGE_STOP;
	}

	return msg;
}

bool estop_channels_primed(const estop_state_t st[2])
{
	return st[0].primed_high && st[0].primed_low && st[1].primed_high && st[1].primed_low &&
	       st[0].settled && st[1].settled;
}
```

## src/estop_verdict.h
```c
/*
 * Copyright (c) 2026 Richard Osterloh <richard.osterloh@gmail.com>
 * SPDX-License-Identifier: Apache-2.0
 *
 * Pure stop-switch decision core -- no HAL, no I/O, no kernel. Ported from
 * upstream firmware/main/estop_verdict.{c,h}, which was extracted from main.c
 * so the SIL-critical verdict logic is unit-testable to branch + MC/DC. That
 * reasoning holds here too, and gpio_emul additionally lets us test the HAL
 * glue in estop_gpio.c.
 */

#ifndef PROTECTIVE_STOP_ESTOP_VERDICT_H
#define PROTECTIVE_STOP_ESTOP_VERDICT_H

#include <stdbool.h>
#include <stdint.h>

/* Release-direction debounce: after ANY unhealthy read, this many consecutive
 * healthy ticks are required before the channel reports closed again. The
 * open->STOP edge stays SINGLE-TICK -- the stop path is never filtered. This
 * only extends how long a STOP episode lasts, so an EMC-induced blip produces
 * a >=300 ms episode instead of chattering.
 */
#define LOOP_RECLOSE_DEBOUNCE_TICKS 3U

/* Boot warm-up: the comparator sends NOTHING until each channel has settled --
 * either one full closed-debounce cycle, or this many CONSECUTIVE open reads
 * (switch genuinely held at boot, so STOP flows ~500 ms later, well before the
 * bond completes). Without the consecutive-open requirement, a first-sample
 * glitch would put a STOP->OK episode -- the arming gesture -- on the wire at
 * every power-on.
 */
#define LOOP_BOOT_OPEN_CONFIRM_TICKS 5U

/* Per-channel state, carried across ticks. One instance per sampler. */
typedef struct {
	bool high_ok;          /* most recent drive-high tick read IN==1 */
	bool low_ok;           /* most recent drive-low tick read IN==0 */
	bool primed_high;      /* a drive-high sample has been taken since boot */
	bool primed_low;       /* a drive-low sample has been taken since boot */
	uint8_t closed_streak; /* consecutive healthy ticks (release debounce) */
	uint8_t open_streak;   /* consecutive unhealthy ticks (boot warm-up) */
	bool settled;          /* warm-up done; see the two constants above */
} estop_state_t;

/* Zero a channel's state. Fail-safe: a zeroed state reports STOP. */
void estop_state_init(estop_state_t *st);

/* Decide this tick's pstop message byte from two FRESH both-phase reads
 * (rb_hi = readback after driving the loop HIGH, rb_lo = after driving it
 * LOW), updating health, debounce and priming. Returns PSTOP_MESSAGE_OK or
 * PSTOP_MESSAGE_STOP. Pure: no HAL, no globals.
 *
 * core_id selects a DIVERSE expression of the same decision: core 0 by
 * arithmetic image, core 1 by boolean. They are logically identical when
 * correct, so this guards against a common-mode misinterpretation of the
 * physical reads -- the two expressions are unlikely to misread rb_hi/rb_lo
 * the same wrong way. It does NOT mean a fault in either expression reaches
 * the comparator as a mismatch: the STOP-only override below fully
 * determines msg whenever the channel is not actually closed and settled, so
 * a bug that makes this expression emit OK when it should emit STOP is
 * masked toward STOP rather than surfaced as a lockstep divergence. Masking
 * toward STOP is the safe direction; it is just not the same thing as
 * detection.
 */
uint8_t estop_decide(estop_state_t *st, int core_id, int rb_hi, int rb_lo);

/* True once BOTH channels have sampled both phases AND settled. The
 * comparator holds off sending until then.
 */
bool estop_channels_primed(const estop_state_t st[2]);

#endif /* PROTECTIVE_STOP_ESTOP_VERDICT_H */
```

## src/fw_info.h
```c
/*
 * Copyright (c) 2026 Richard Osterloh <richard.osterloh@gmail.com>
 * SPDX-License-Identifier: Apache-2.0
 *
 * The running build's identity, as /state.json and /api/health report it.
 */

#ifndef PROTECTIVE_STOP_FW_INFO_H
#define PROTECTIVE_STOP_FW_INFO_H

#include <zephyr/app_version.h>
#include <zephyr/sys/util.h>

#ifdef APP_BUILD_VERSION
#define FW_SHA STRINGIFY(APP_BUILD_VERSION)
#else
#define FW_SHA ""
#endif

#endif /* PROTECTIVE_STOP_FW_INFO_H */
```

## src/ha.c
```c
/*
 * Copyright (c) 2026 Richard Osterloh <richard.osterloh@gmail.com>
 * SPDX-License-Identifier: Apache-2.0
 *
 * Home Assistant view of the remote over the ESPHome native API. Read-only:
 * nothing here reaches the stop path. A low-priority thread polls the
 * comparator's published state and pushes changes, so a slow or stalled
 * Home Assistant connection can only delay these updates, never a tick.
 */

#include <zephyr/kernel.h>
#include <zephyr/logging/log.h>
#include <zephyr/net/esphome_api.h>
#include <zephyr/settings/settings.h>

#include "app_settings.h"
#include "health.h"
#include "lockstep.h"
#include "pstop/pstop_msg.h"
#include "pstop_log.h"
#include "session.h"

LOG_MODULE_DECLARE(pstop, PSTOP_LOG_LEVEL);

#define HA_POLL_MS 100

/* "safety" device class: on means unsafe, i.e. a stop is being sent. */
ESPHOME_BINARY_SENSOR_DEFINE(stop, .name = "Stop", .device_class = "safety");
ESPHOME_SENSOR_DEFINE(bonded_machines, .name = "Bonded machines", .icon = "mdi:robot-industrial",
		      .state_class = ESPHOME_STATE_CLASS_MEASUREMENT);
ESPHOME_SENSOR_DEFINE(lockstep_faults, .name = "Lockstep faults",
		      .state_class = ESPHOME_STATE_CLASS_TOTAL_INCREASING,
		      .entity_category = ESPHOME_ENTITY_CATEGORY_DIAGNOSTIC);
ESPHOME_BINARY_SENSOR_DEFINE(health_problem, .name = "Health", .device_class = "problem",
			     .entity_category = ESPHOME_ENTITY_CATEGORY_DIAGNOSTIC);

static void ha_thread(void *p1, void *p2, void *p3)
{
	int last_stop = -1;
	int last_bonded = -1;
	int64_t last_faults = -1;
	int last_problem = -1;

	ARG_UNUSED(p1);
	ARG_UNUSED(p2);
	ARG_UNUSED(p3);

	/* app_settings loads only its own subtree; the API key lives here. */
	(void)settings_load_subtree("esphome_api");

	while (true) {
		/* Either channel deciding STOP means STOP goes on the wire. */
		int now_stop = (pstop_lockstep_last_verdict(0) != PSTOP_MESSAGE_OK) ||
			       (pstop_lockstep_last_verdict(1) != PSTOP_MESSAGE_OK);
		int bonded = 0;
		int64_t faults = (int64_t)pstop_lockstep_mismatches() +
				 (int64_t)pstop_lockstep_missed_deadlines();
		int problem = health_level() != HEALTH_OK;

		for (int slot = 0; slot < PSTOP_MAX_MACHINES; slot++) {
			if (pstop_lockstep_slot_active(slot) &&
			    (pstop_lockstep_session(slot)->state == PSTOP_SESS_BONDED)) {
				bonded++;
			}
		}

		if (now_stop != last_stop) {
			(void)esphome_api_publish_bool(&stop, now_stop);
			last_stop = now_stop;
		}
		if (bonded != last_bonded) {
			(void)esphome_api_publish_float(&bonded_machines, (float)bonded);
			last_bonded = bonded;
		}
		if (faults != last_faults) {
			(void)esphome_api_publish_float(&lockstep_faults, (float)faults);
			last_faults = faults;
		}
		if (problem != last_problem) {
			(void)esphome_api_publish_bool(&health_problem, problem);
			last_problem = problem;
		}

		k_sleep(K_MSEC(HA_POLL_MS));
	}
}

/* Lowest preemptible priority: below the samplers, comparator and uplinks. */
K_THREAD_DEFINE(pstop_ha, 1024, ha_thread, NULL, NULL, NULL, K_LOWEST_APPLICATION_THREAD_PRIO, 0,
		0);
```
